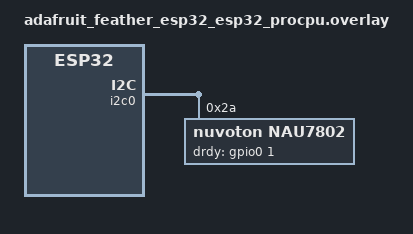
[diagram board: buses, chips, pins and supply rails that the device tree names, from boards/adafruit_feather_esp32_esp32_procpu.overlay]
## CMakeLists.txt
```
# SPDX-License-Identifier: Apache-2.0

cmake_minimum_required(VERSION 3.20.0)

list(APPEND ZEPHYR_EXTRA_MODULES "${CMAKE_CURRENT_SOURCE_DIR}/drivers")

find_package(Zephyr REQUIRED HINTS $ENV{ZEPHYR_BASE})
project(hello_world)

target_sources(app PRIVATE src/main.c)
```

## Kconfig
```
source "Kconfig.zephyr"
rsource "drivers/Kconfig"
```

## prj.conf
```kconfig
# Config logger
CONFIG_LOG=y

# Sensor
CONFIG_SENSOR=y

CONFIG_I2C=y
CONFIG_SPI=y
CONFIG_NAU7802=y
CONFIG_NAU7802_TRIGGER_NONE=y

CONFIG_BT=y
CONFIG_BT_PERIPHERAL=y
CONFIG_BT_DEVICE_NAME="Bleboard"
```

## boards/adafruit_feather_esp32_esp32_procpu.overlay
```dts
&i2c0 {
    status = "okay";
    nau7802: nau7802@2a {
            compatible = "nuvoton,nau7802";
            reg = <0x2a>;
            drdy-gpios = <&gpio0 1 GPIO_ACTIVE_HIGH>;
            conversions-per-second = <320>; //SPS
            gain = <128>;
    };
};
```

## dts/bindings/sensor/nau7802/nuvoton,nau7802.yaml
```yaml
# Copyright (c) 2024, Tin Chiang
# SPDX-License-Identifier: Apache-2.0

description: |
  Nuvoton NAU7802 24-Bit Dual-Channel ADC For Bridge Sensors on I2C bus.

  Example definition in devicetree:

    nau7802 {
        compatible = "nuvoton,nau7802";
        drdy-gpios = <&gpio0 0 (GPIO_PULL_UP | GPIO_ACTIVE_LOW)>;
    };

compatible: "nuvoton,nau7802"

include: [sensor-device.yaml, i2c-device.yaml]

properties:
  drdy-gpios:
    type: phandle-array
    description: |
      DRDY pin

      This pin defaults to active high when produced by the sensor.
      The property value should ensure the flags properly describe
      the signal that is presented to the driver.

      The interrupt pin of NAU7802 is default active high.
  conversions-per-second:
    type: int
    default: 0
    # Note: the driver relies on the ordering of this enum,
    # so change it with care.
    description: |
      Number of force readings performed by the NAU7802 per second.
      10 conversions per second is the power-on reset configuration.
    enum:
      - 10 # SPS
      - 20 #SPS
      - 40 #SPS
      - 80 #SPS
      - 320 #SPS
  gain:
    type: int
    default: 1
    description: |
      ADC gain factor. The default value is x1 at power on.
    enum:
      - 1
      - 2
      - 4
      - 8
      - 16
      - 32
      - 64
      - 128
  # calibration-factor:
  #   type: string
  #   default: "1.0"
  #   description: |
  #     The sensor model of loadcell is 'y = ax + b'. The calibration factor is the 'a', and should be measured before-hand.
```

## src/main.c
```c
#include <zephyr/kernel.h>
#include <zephyr/drivers/gpio.h>
#include <zephyr/drivers/sensor.h>
#include <zephyr/drivers/i2c.h>
#include <zephyr/logging/log.h>
#include <zephyr/bluetooth/bluetooth.h>
#include <zephyr/bluetooth/gatt.h>

/* this is for getting the SENSOR_CHAN_FORCE*/
#include "../drivers/sensor/nau7802/nau7802.h"

#define DEVICE_NAME CONFIG_BT_DEVICE_NAME
#define DEVICE_NAME_LEN (sizeof(DEVICE_NAME) - 1)

LOG_MODULE_REGISTER(main_logging);

static struct bt_uuid_128 service_uuid = BT_UUID_INIT_128(
	BT_UUID_128_ENCODE(0x12345678, 0x1234, 0x5678, 0x1234, 0x56789abcdef0ULL));

static struct bt_uuid_128 char_uuid = BT_UUID_INIT_128(
	BT_UUID_128_ENCODE(0x12345678, 0x1234, 0x5678, 0x1234, 0x56789abcdef1ULL));

static ssize_t read(struct bt_conn *conn,
					const struct bt_gatt_attr *attr,
					void *buf, uint16_t len, uint16_t offset);

static void ccc_cfg_changed(const struct bt_gatt_attr *attr, uint16_t value);

static uint32_t current_value = 0;

/* GATT service definition */
BT_GATT_SERVICE_DEFINE(custom_svc,
					   BT_GATT_PRIMARY_SERVICE(&service_uuid.uuid),

					   /* Add NOTIFY to properties */
					   BT_GATT_CHARACTERISTIC(&char_uuid.uuid,
											  BT_GATT_CHRC_READ | BT_GATT_CHRC_NOTIFY,
											  BT_GATT_PERM_READ,
											  read, NULL, &current_value),

					   /* CCC descriptor so the central can subscribe to notifications */
					   BT_GATT_CCC(ccc_cfg_changed, (BT_GATT_PERM_READ | BT_GATT_PERM_WRITE)));

/* Advertising data: flags + our custom service UUID */
static const struct bt_data ad[] = {
	BT_DATA_BYTES(BT_DATA_FLAGS, (BT_LE_AD_GENERAL | BT_LE_AD_NO_BREDR)),
	BT_DATA(BT_DATA_NAME_COMPLETE, DEVICE_NAME, DEVICE_NAME_LEN),
};

/* Read callback: return current value */
static ssize_t read(struct bt_conn *conn,
					const struct bt_gatt_attr *attr,
					void *buf, uint16_t len, uint16_t offset)
{
	const uint8_t *value = attr->user_data;
	return bt_gatt_attr_read(conn, attr, buf, len, offset,
							 value, sizeof(*value));
}

static void ccc_cfg_changed(const struct bt_gatt_attr *attr, uint16_t value)
{
	ARG_UNUSED(attr);
	bool notify_enabled = (value == BT_GATT_CCC_NOTIFY);
	LOG_INF("Notify %s.\n", (notify_enabled ? "enabled" : "disabled"));
}

void notify_value(uint32_t value)
{
	int err = bt_gatt_notify(NULL, &custom_svc.attrs[1],
							 &value,
							 sizeof(value));
	if (err)
	{
		LOG_WRN("bt_gatt_notify failed (err %d), enable notifications\n", err);
	}
}

int main(void)
{
	const struct device *const nau7802 = DEVICE_DT_GET_ONE(nuvoton_nau7802);
	struct sensor_value sample;
	int err;

	if (!device_is_ready(nau7802))
	{
		LOG_ERR("sensor: device not ready.");
		return -1;
	}
	err = bt_enable(NULL);
	if (err)
	{
		LOG_ERR("Bluetooth init failed (err %d)\n", err);
		return -1;
	}
	err = bt_le_adv_start(BT_LE_ADV_CONN_FAST_1, ad, ARRAY_SIZE(ad), NULL, 0);
	if (err)
	{
		LOG_ERR("Advertising failed to start (err %d)\n", err);
		return -1;
	}

	while (1)
	{
		if (sensor_sample_fetch(nau7802) < 0)
		{
			LOG_ERR("sensor: sample fetch error.");
		}
		if (sensor_channel_get(nau7802, SENSOR_CHAN_FORCE, &sample) < 0)
		{
			LOG_ERR("sensor: channel get error.");
		}
		else
		{
			current_value = sample.val1;
			notify_value(current_value);

			LOG_INF("Force: %d N", sample.val1);
		}
		k_sleep(K_MSEC(1000));
	}
	return 0;
}
```
